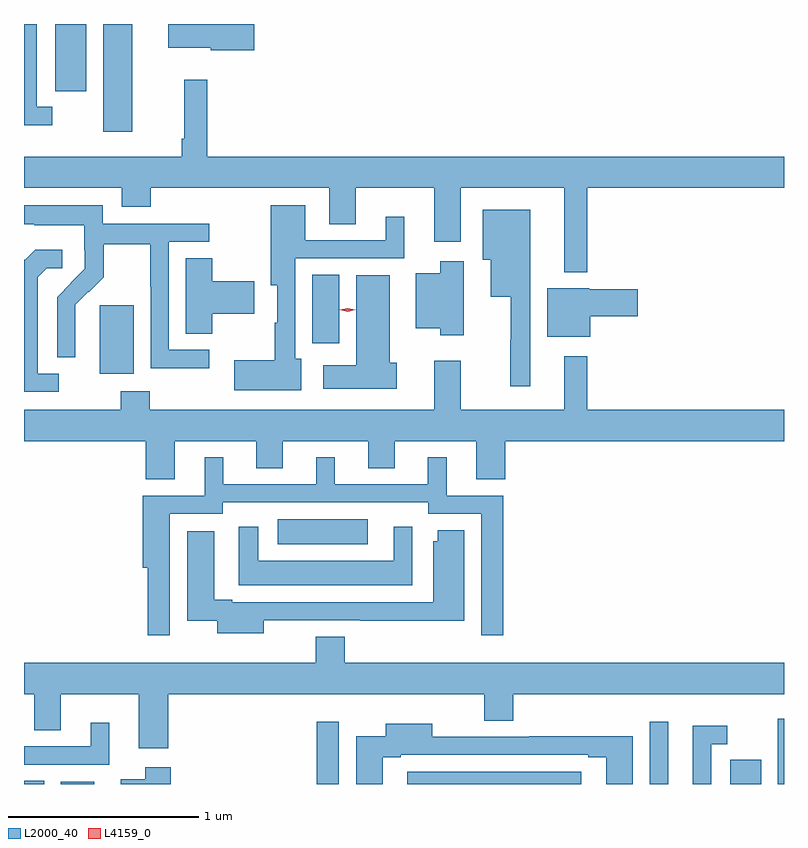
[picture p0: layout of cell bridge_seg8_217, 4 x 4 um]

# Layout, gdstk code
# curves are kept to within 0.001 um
import gdstk
lib = gdstk.Library(unit=1e-6, precision=1e-09)
def R(c, l, rs):  # rectangles x0, y0, x1, y1
    for r in rs: c.add(gdstk.rectangle(r[:2], r[2:], *l))
def P(c, l, *ps):  # polygons
    for p in ps: c.add(gdstk.Polygon(p, *l))
L2000_40 = (2000, 40)
L4159_0 = (4159, 0)

bridge_seg8_217 = lib.new_cell('bridge_seg8_217')
R(bridge_seg8_217, L2000_40, [(231.546,1092.051,231.652,1092.068), (231.74,1092.051,231.916,1092.064), (233.086,1092.051,233.202,1092.379), (233.564,1092.051,234.478,1092.115), (234.84,1092.051,234.937,1092.379), (235.262,1092.051,235.426,1092.178), (235.514,1092.051,235.546,1092.394), (232.881,1093.313,233.356,1093.444), (231.944,1094.21,232.123,1094.571), (233.063,1094.37,233.206,1094.732), (231.962,1095.483,232.117,1096.051), (231.71,1095.696,231.874,1096.051)])
P(bridge_seg8_217, L2000_40, [(232.759,1096.051),(232.304,1096.051),(232.304,1095.926),(232.53,1095.926),(232.53,1095.914),(232.759,1095.914)],
  [(231.694,1095.615),(231.612,1095.615),(231.612,1096.051),(231.546,1096.051),(231.546,1095.518),(231.694,1095.518)],
  [(232.511,1095.757),(232.39,1095.757),(232.39,1095.448),(232.375,1095.448),(232.375,1095.352),(231.546,1095.352),(231.546,1095.188),(232.061,1095.188),(232.061,1095.089),(232.214,1095.089),(232.214,1095.188),(233.153,1095.188),(233.153,1094.998),(233.293,1094.998),(233.293,1095.188),(233.705,1095.188),(233.705,1094.904),(233.845,1094.904),(233.845,1095.188),(234.389,1095.188),(234.389,1094.744),(234.511,1094.744),(234.511,1095.188),(235.546,1095.188),(235.546,1095.352),(232.511,1095.352)],
  [(233.005,1094.289),(232.974,1094.289),(232.974,1094.817),(233.548,1094.817),(233.548,1095.037),(233.45,1095.037),(233.45,1094.913),(233.026,1094.913),(233.026,1095.097),(232.844,1095.097),(232.844,1094.675),(232.878,1094.675),(232.878,1094.478),(232.866,1094.478),(232.866,1094.281),(232.653,1094.281),(232.653,1094.123),(233.005,1094.123)],
  [(232.522,1094.337),(232.308,1094.337),(232.308,1094.904),(232.522,1094.904),(232.522,1095),(231.96,1095),(231.96,1095.097),(231.546,1095.097),(231.546,1094.997),(231.601,1094.997),(231.601,1094.993),(231.864,1094.993),(231.864,1094.859),(231.866,1094.859),(231.866,1094.762),(231.72,1094.614),(231.72,1094.296),(231.816,1094.296),(231.815,1094.573),(231.885,1094.643),(231.888,1094.64),(231.965,1094.717),(231.965,1094.892),(232.21,1094.892),(232.21,1094.668),(232.212,1094.668),(232.212,1094.239),(232.522,1094.239)],
  [(234.211,1095.073),(233.96,1095.073),(233.96,1094.81),(234.002,1094.81),(234.002,1094.615),(234.107,1094.615),(234.107,1094.388),(234.105,1094.388),(234.105,1094.145),(234.211,1094.145)],
  [(231.73,1094.211),(231.619,1094.211),(231.619,1094.719),(231.666,1094.766),(231.748,1094.766),(231.748,1094.863),(231.604,1094.863),(231.552,1094.811),(231.546,1094.811),(231.546,1094.115),(231.73,1094.115)],
  [(232.536,1094.525),(232.759,1094.525),(232.759,1094.696),(232.536,1094.696),(232.536,1094.819),(232.397,1094.819),(232.397,1094.422),(232.536,1094.422)],
  [(233.86,1094.803),(233.738,1094.803),(233.738,1094.74),(233.609,1094.74),(233.609,1094.45),(233.738,1094.45),(233.738,1094.414),(233.86,1094.414)],
  [(233.509,1094.267),(233.47,1094.267),(233.47,1094.728),(233.294,1094.728),(233.294,1094.254),(233.121,1094.254),(233.121,1094.132),(233.509,1094.132)],
  [(234.526,1094.512),(234.775,1094.512),(234.775,1094.654),(234.522,1094.654),(234.522,1094.659),(234.299,1094.659),(234.299,1094.405),(234.526,1094.405)],
  [(232.339,1093.856),(232.769,1093.856),(232.769,1093.714),(232.909,1093.714),(232.909,1093.856),(233.357,1093.856),(233.357,1093.714),(233.497,1093.714),(233.497,1093.856),(233.927,1093.856),(233.927,1093.654),(234.08,1093.654),(234.08,1093.856),(235.546,1093.856),(235.546,1094.02),(234.511,1094.02),(234.511,1094.302),(234.389,1094.302),(234.389,1094.02),(233.845,1094.02),(233.845,1094.278),(233.705,1094.278),(233.705,1094.02),(232.209,1094.02),(232.209,1094.119),(232.054,1094.119),(232.054,1094.02),(231.546,1094.02),(231.546,1093.856),(232.187,1093.856),(232.187,1093.654),(232.339,1093.654)],
  [(232.314,1093.473),(232.593,1093.473),(232.593,1093.533),(233.673,1093.533),(233.673,1093.473),(233.952,1093.473),(233.952,1092.834),(234.068,1092.834),(234.068,1093.569),(233.77,1093.569),(233.77,1093.771),(233.672,1093.771),(233.672,1093.629),(233.182,1093.629),(233.182,1093.771),(233.084,1093.771),(233.084,1093.629),(232.594,1093.629),(232.594,1093.771),(232.496,1093.771),(232.496,1093.569),(232.172,1093.569),(232.172,1093.19),(232.198,1093.19),(232.198,1092.834),(232.314,1092.834)],
  [(233.589,1093.405),(233.492,1093.405),(233.492,1093.225),(232.78,1093.225),(232.78,1093.405),(232.676,1093.405),(232.676,1093.097),(233.589,1093.097)],
  [(232.807,1092.912),(233.317,1092.912),(233.317,1092.91),(233.863,1092.91),(233.863,1093.387),(233.723,1093.387),(233.723,1093.329),(233.699,1093.329),(233.699,1093.008),(232.642,1093.008),(232.642,1093.021),(232.546,1093.021),(232.546,1093.381),(232.406,1093.381),(232.406,1092.91),(232.562,1092.91),(232.562,1092.845),(232.807,1092.845)],
  [(232.304,1092.524),(233.969,1092.524),(233.969,1092.385),(234.122,1092.385),(234.122,1092.524),(235.546,1092.524),(235.546,1092.688),(233.234,1092.688),(233.234,1092.827),(233.081,1092.827),(233.081,1092.688),(231.546,1092.688),(231.546,1092.524),(231.599,1092.524),(231.599,1092.334),(231.739,1092.334),(231.739,1092.524),(232.151,1092.524),(232.151,1092.24),(232.304,1092.24)],
  [(231.994,1092.373),(231.896,1092.373),(231.896,1092.249),(231.546,1092.249),(231.546,1092.153),(231.994,1092.153)],
  [(233.434,1092.192),(233.53,1092.192),(233.53,1092.204),(234.515,1092.204),(234.515,1092.192),(234.611,1092.192),(234.611,1092.051),(234.751,1092.051),(234.751,1092.303),(234.205,1092.303),(234.205,1092.3),(233.695,1092.3),(233.695,1092.367),(233.45,1092.367),(233.45,1092.303),(233.294,1092.303),(233.294,1092.051),(233.434,1092.051)],
  [(235.164,1092.261),(235.246,1092.261),(235.246,1092.358),(235.067,1092.358),(235.067,1092.051),(235.164,1092.051)],
  [(232.319,1092.139),(232.184,1092.139),(232.184,1092.076),(232.055,1092.076),(232.055,1092.051),(232.319,1092.051)])
P(bridge_seg8_217, L4159_0, [(233.249,1094.536),(233.209,1094.546),(233.209,1094.546),(233.209,1094.546),(233.249,1094.556),(233.29,1094.546),(233.29,1094.546),(233.29,1094.546)])

lib.write_gds('bridge_seg8_217.gds')
